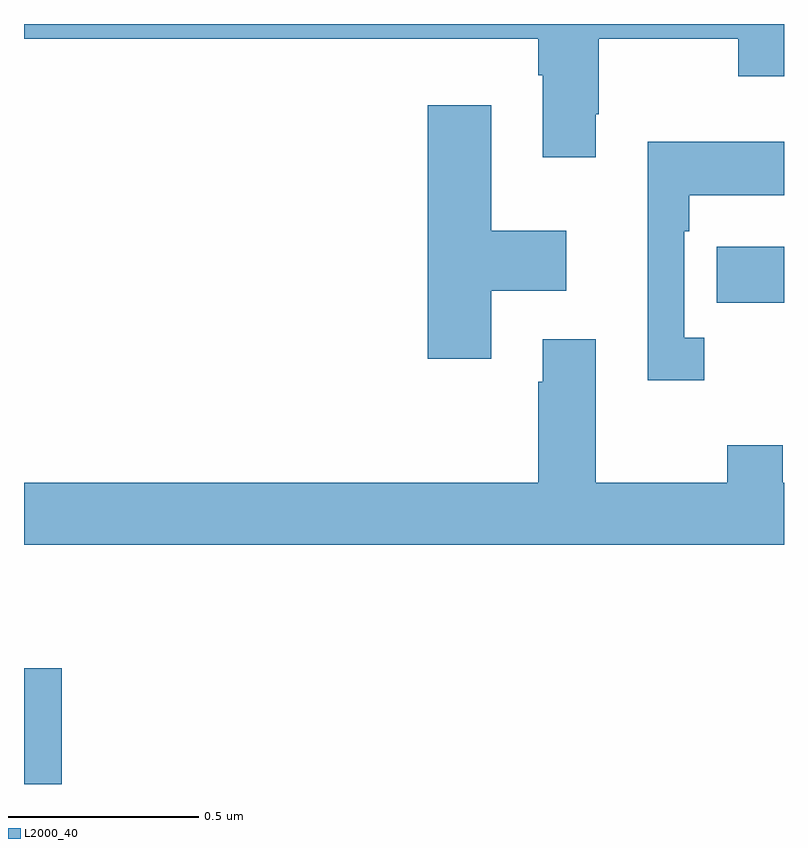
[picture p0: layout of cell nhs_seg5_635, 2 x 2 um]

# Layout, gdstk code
import gdstk
lib = gdstk.Library(unit=1e-6, precision=1e-09)
def R(c, l, rs):  # rectangles x0, y0, x1, y1
    for r in rs: c.add(gdstk.rectangle(r[:2], r[2:], *l))
def P(c, l, *ps):  # polygons
    for p in ps: c.add(gdstk.Polygon(p, *l))
L2000_40 = (2000, 40)

nhs_seg5_635 = lib.new_cell('nhs_seg5_635')
R(nhs_seg5_635, L2000_40, [(119,854.799,119.099,855.103), (120.823,856.066,121,856.213)])
P(nhs_seg5_635, L2000_40, [(120.505,856.561),(120.513,856.561),(120.513,856.76),(120.88,856.76),(120.88,856.661),(121,856.661),(121,856.799),(119,856.799),(119,856.76),(120.353,856.76),(120.353,856.664),(120.365,856.664),(120.365,856.449),(120.505,856.449)],
  [(120.229,856.097),(120.427,856.097),(120.427,856.255),(120.229,856.255),(120.229,856.585),(120.062,856.585),(120.062,855.918),(120.229,855.918)],
  [(120.79,855.974),(120.738,855.974),(120.738,856.253),(120.751,856.253),(120.751,856.349),(121,856.349),(121,856.489),(120.641,856.489),(120.641,855.861),(120.79,855.861)],
  [(121,855.592),(120.997,855.592),(120.997,855.691),(120.85,855.691),(120.85,855.592),(120.505,855.592),(120.505,855.97),(120.365,855.97),(120.365,855.857),(120.353,855.857),(120.353,855.592),(119,855.592),(119,855.428),(121,855.428)])

lib.write_gds('nhs_seg5_635.gds')
